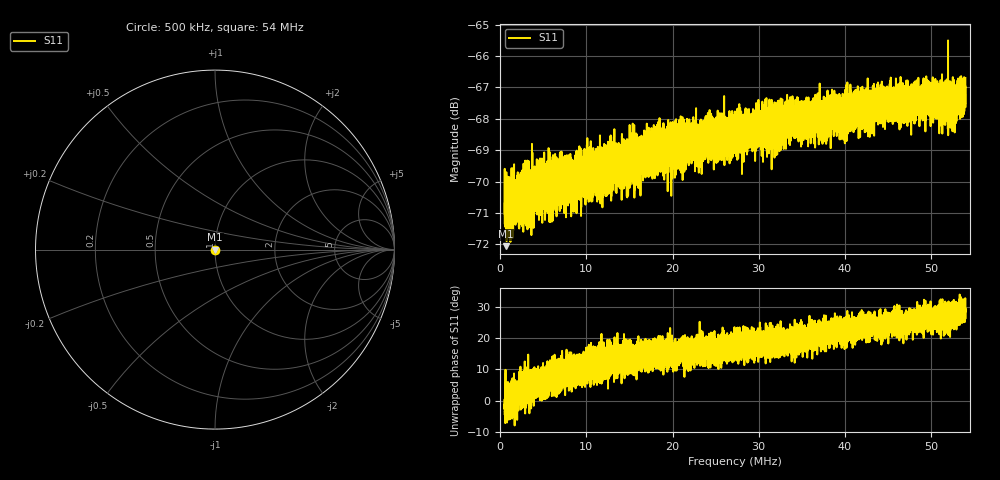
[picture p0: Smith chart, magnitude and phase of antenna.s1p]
! Calibrated high-resolution NanoVNA antenna measurement
# Hz S RI R 50
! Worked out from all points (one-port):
!   40001 points, 500 kHz to 54 MHz, reference 50 ohm
!   lowest |S11| = -72.1 dB at 623 kHz (marker M1), VSWR 1.00, Z = 50 - j0.00112 ohm
!   |S11| at or under -10 dB: start of sweep to end of sweep
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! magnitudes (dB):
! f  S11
! 500 kHz  -71.0
! 623 kHz  -72.1
! 783.5 kHz  -70.9
! 1.478 MHz  -70.2
! 3.353 MHz  -71.2
! 5.36 MHz  -69.5
! 5.913 MHz  -70.0
! 7.188 MHz  -69.7
! 8.522 MHz  -70.3
! 10.56 MHz  -69.5
! 11.23 MHz  -69.7
! 13.88 MHz  -69.5
! 16.79 MHz  -69.7
! 19.79 MHz  -69.2
! 20.56 MHz  -68.8
! 27.25 MHz  -68.7
! 28.62 MHz  -68.3
! 31.29 MHz  -68.6
! 33.94 MHz  -68.0
! 37.07 MHz  -68.0
! 40.62 MHz  -67.3
! 43.07 MHz  -67.7
! 47.31 MHz  -67.1
! 49.72 MHz  -67.2
! 51.43 MHz  -67.5
! 52.33 MHz  -67.3
! 52.85 MHz  -67.5
! 54 MHz  -67.2
